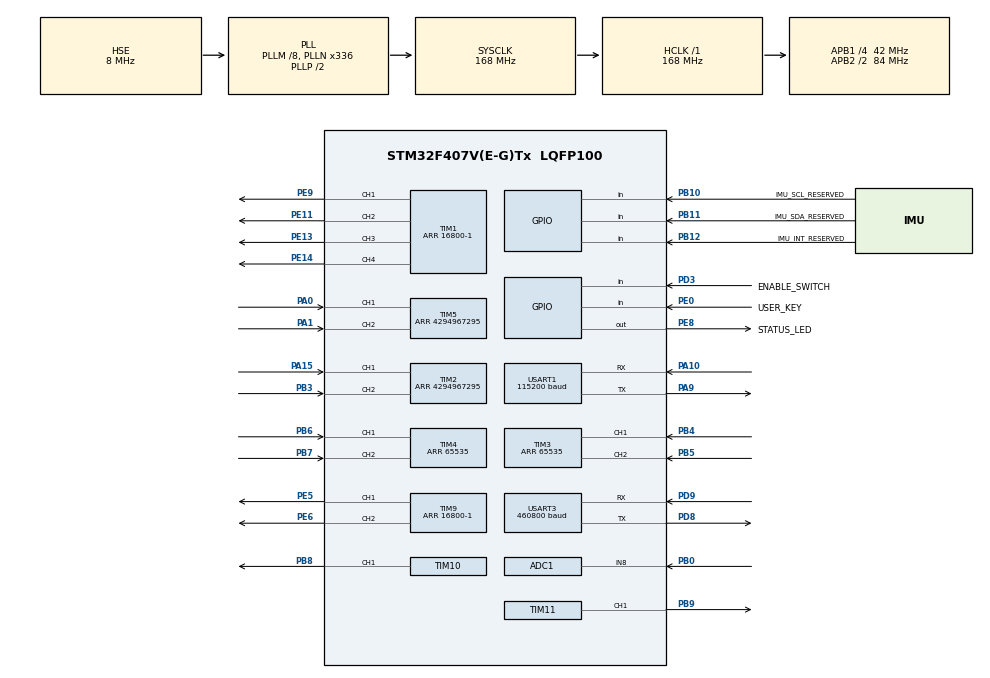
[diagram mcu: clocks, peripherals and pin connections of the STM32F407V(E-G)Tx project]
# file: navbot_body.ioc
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ADC1.Channel-0\#ChannelRegularConversion=ADC_CHANNEL_8
ADC1.ClockPrescaler=ADC_CLOCK_SYNC_PCLK_DIV4
ADC1.EnableAnalogWatchDog=false
ADC1.NbrOfConversionFlag=1
ADC1.Rank-0\#ChannelRegularConversion=1
ADC1.SamplingTime-0\#ChannelRegularConversion=ADC_SAMPLETIME_480CYCLES
ADC1.master=1
Dma.Request0=USART3_RX
Dma.Request1=USART3_TX
Dma.USART3_RX.0.Direction=DMA_PERIPH_TO_MEMORY
Dma.USART3_RX.0.FIFOMode=DMA_FIFOMODE_DISABLE
Dma.USART3_RX.0.Instance=DMA1_Stream1
Dma.USART3_RX.0.MemDataAlignment=DMA_MDATAALIGN_BYTE
Dma.USART3_RX.0.MemInc=DMA_MINC_ENABLE
Dma.USART3_RX.0.Mode=DMA_CIRCULAR
Dma.USART3_RX.0.PeriphDataAlignment=DMA_PDATAALIGN_BYTE
Dma.USART3_RX.0.PeriphInc=DMA_PINC_DISABLE
Dma.USART3_RX.0.Priority=DMA_PRIORITY_LOW
Dma.USART3_TX.1.Direction=DMA_MEMORY_TO_PERIPH
Dma.USART3_TX.1.FIFOMode=DMA_FIFOMODE_DISABLE
Dma.USART3_TX.1.Instance=DMA1_Stream3
Dma.USART3_TX.1.MemDataAlignment=DMA_MDATAALIGN_BYTE
Dma.USART3_TX.1.MemInc=DMA_MINC_ENABLE
Dma.USART3_TX.1.Mode=DMA_NORMAL
Dma.USART3_TX.1.PeriphDataAlignment=DMA_PDATAALIGN_BYTE
Dma.USART3_TX.1.PeriphInc=DMA_PINC_DISABLE
Dma.USART3_TX.1.Priority=DMA_PRIORITY_LOW
FREERTOS.INCLUDE_uxTaskGetStackHighWaterMark=1
FREERTOS.INCLUDE_vTaskDelayUntil=1
FREERTOS.Tasks01=controlTask,40,512,StartControlTask,Default,NULL,Static,controlStack,controlTcb;commTask,24,512,StartCommTask,Default,NULL,Static,commStack,commTcb;sensorTask,16,384,StartSensorTask,Default,NULL,Static,sensorStack,sensorTcb;monitorTask,8,512,StartMonitorTask,Default,NULL,Static,monitorStack,monitorTcb
FREERTOS.configCHECK_FOR_STACK_OVERFLOW=2
FREERTOS.configTOTAL_HEAP_SIZE=8192
FREERTOS.configUSE_MALLOC_FAILED_HOOK=1
FREERTOS.configUSE_TIMERS=1
Mcu.Family=STM32F4
Mcu.Name=STM32F407V(E-G)Tx
Mcu.Package=LQFP100
NVIC.DMA1_Stream1_IRQn=true\:5\:0\:false\:false\:true\:true\:true\:true\:true
NVIC.DMA1_Stream3_IRQn=true\:5\:0\:false\:false\:true\:true\:true\:true\:true
NVIC.PriorityGroup=NVIC_PRIORITYGROUP_4
NVIC.TIM6_DAC_IRQn=true\:15\:0\:false\:false\:true\:false\:false\:true\:true
NVIC.TimeBase=TIM6_DAC_IRQn
NVIC.TimeBaseIP=TIM6
NVIC.USART3_IRQn=true\:5\:0\:false\:false\:true\:true\:true\:true\:true
PA0-WKUP.GPIO_ModeDefaultPP=GPIO_MODE_AF_PP
PA0-WKUP.GPIO_PuPd=GPIO_PULLUP
PA0-WKUP.GPIO_Speed=GPIO_SPEED_FREQ_VERY_HIGH
PA0-WKUP.Signal=S_TIM5_CH1
PA1.GPIO_ModeDefaultPP=GPIO_MODE_AF_PP
PA1.GPIO_PuPd=GPIO_PULLUP
PA1.GPIO_Speed=GPIO_SPEED_FREQ_VERY_HIGH
PA1.Signal=S_TIM5_CH2
PA10.GPIO_PuPd=GPIO_PULLUP
PA10.GPIO_Speed=GPIO_SPEED_FREQ_MEDIUM
PA10.Mode=Asynchronous
PA10.Signal=USART1_RX
PA13.Mode=Serial_Wire
PA13.Signal=SYS_JTMS-SWDIO
PA14.Mode=Serial_Wire
PA14.Signal=SYS_JTCK-SWCLK
PA15.GPIO_ModeDefaultPP=GPIO_MODE_AF_PP
PA15.GPIO_PuPd=GPIO_PULLUP
PA15.GPIO_Speed=GPIO_SPEED_FREQ_VERY_HIGH
PA15.Signal=S_TIM2_CH1_ETR
PA9.GPIO_ModeDefaultPP=GPIO_MODE_AF_PP
PA9.GPIO_PuPd=GPIO_PULLUP
PA9.GPIO_Speed=GPIO_SPEED_FREQ_MEDIUM
PA9.Mode=Asynchronous
PA9.Signal=USART1_TX
PB0.GPIO_Mode=GPIO_MODE_ANALOG
PB0.GPIO_PuPd=GPIO_NOPULL
PB0.Signal=ADCx_IN8
PB10.GPIO_Label=IMU_SCL_RESERVED
PB10.Signal=GPIO_Input
PB11.GPIO_Label=IMU_SDA_RESERVED
PB11.Signal=GPIO_Input
PB12.GPIO_Label=IMU_INT_RESERVED
PB12.Signal=GPIO_Input
PB3.GPIO_ModeDefaultPP=GPIO_MODE_AF_PP
PB3.GPIO_PuPd=GPIO_PULLUP
PB3.GPIO_Speed=GPIO_SPEED_FREQ_VERY_HIGH
PB3.Signal=S_TIM2_CH2
PB4.GPIO_ModeDefaultPP=GPIO_MODE_AF_PP
PB4.GPIO_PuPd=GPIO_PULLUP
PB4.GPIO_Speed=GPIO_SPEED_FREQ_VERY_HIGH
PB4.Signal=S_TIM3_CH1
PB5.GPIO_ModeDefaultPP=GPIO_MODE_AF_PP
PB5.GPIO_PuPd=GPIO_PULLUP
PB5.GPIO_Speed=GPIO_SPEED_FREQ_VERY_HIGH
PB5.Signal=S_TIM3_CH2
PB6.GPIO_ModeDefaultPP=GPIO_MODE_AF_PP
PB6.GPIO_PuPd=GPIO_PULLUP
PB6.GPIO_Speed=GPIO_SPEED_FREQ_VERY_HIGH
PB6.Signal=S_TIM4_CH1
PB7.GPIO_ModeDefaultPP=GPIO_MODE_AF_PP
PB7.GPIO_PuPd=GPIO_PULLUP
PB7.GPIO_Speed=GPIO_SPEED_FREQ_VERY_HIGH
PB7.Signal=S_TIM4_CH2
PB8.GPIO_PuPd=GPIO_PULLDOWN
PB8.Signal=S_TIM10_CH1
PB9.GPIO_PuPd=GPIO_PULLDOWN
PB9.Signal=S_TIM11_CH1
PD3.GPIO_Label=ENABLE_SWITCH
PD3.GPIO_PuPd=GPIO_NOPULL
PD3.Signal=GPIO_Input
PD8.Mode=Asynchronous
PD8.Signal=USART3_TX
PD9.Mode=Asynchronous
PD9.Signal=USART3_RX
PE0.GPIO_Label=USER_KEY
PE0.GPIO_PuPd=GPIO_NOPULL
PE0.Signal=GPIO_Input
PE11.GPIO_PuPd=GPIO_PULLDOWN
PE11.Signal=S_TIM1_CH2
PE13.GPIO_PuPd=GPIO_PULLDOWN
PE13.Signal=S_TIM1_CH3
PE14.GPIO_PuPd=GPIO_PULLDOWN
PE14.Signal=S_TIM1_CH4
PE5.GPIO_PuPd=GPIO_PULLDOWN
PE5.Signal=S_TIM9_CH1
PE6.GPIO_PuPd=GPIO_PULLDOWN
PE6.Signal=S_TIM9_CH2
PE8.GPIO_Label=STATUS_LED
PE8.GPIO_PuPd=GPIO_NOPULL
PE8.Signal=GPIO_Output
PE9.GPIO_PuPd=GPIO_PULLDOWN
PE9.Signal=S_TIM1_CH1
PH0-OSC_IN.Mode=HSE-External-Oscillator
PH0-OSC_IN.Signal=RCC_OSC_IN
PH1-OSC_OUT.Mode=HSE-External-Oscillator
PH1-OSC_OUT.Signal=RCC_OSC_OUT
ProjectManager.HeapSize=0x200
ProjectManager.StackSize=0x1000
ProjectManager.TargetToolchain=CMake
RCC.48MHZClocksFreq_Value=48000000
RCC.AHBFreq_Value=168000000
RCC.APB1CLKDivider=RCC_HCLK_DIV4
RCC.APB1Freq_Value=42000000
RCC.APB1TimFreq_Value=84000000
RCC.APB2CLKDivider=RCC_HCLK_DIV2
RCC.APB2Freq_Value=84000000
RCC.APB2TimFreq_Value=168000000
RCC.CortexFreq_Value=168000000
RCC.HCLKFreq_Value=168000000
RCC.HSE_VALUE=8000000
RCC.HSI_VALUE=16000000
RCC.LSE_VALUE=32768
RCC.PLLM=8
RCC.PLLN=336
RCC.PLLQ=7
RCC.PLLSourceVirtual=RCC_PLLSOURCE_HSE
RCC.RCC_RTC_Clock_Source_FROM_HSE=RCC_RTCCLKSOURCE_HSE_DIV8
RCC.SYSCLKFreq_VALUE=168000000
RCC.SYSCLKSource=RCC_SYSCLKSOURCE_PLLCLK
RCC.VCOOutputFreq_Value=336000000
SH.ADCx_IN8.0=ADC1_IN8,IN8
SH.S_TIM10_CH1.0=TIM10_CH1,PWM Generation1 CH1
SH.S_TIM11_CH1.0=TIM11_CH1,PWM Generation1 CH1
SH.S_TIM1_CH1.0=TIM1_CH1,PWM Generation1 CH1
SH.S_TIM1_CH2.0=TIM1_CH2,PWM Generation2 CH2
SH.S_TIM1_CH3.0=TIM1_CH3,PWM Generation3 CH3
SH.S_TIM1_CH4.0=TIM1_CH4,PWM Generation4 CH4
SH.S_TIM2_CH1_ETR.0=TIM2_CH1,Encoder_Interface
SH.S_TIM2_CH2.0=TIM2_CH2,Encoder_Interface
SH.S_TIM3_CH1.0=TIM3_CH1,Encoder_Interface
SH.S_TIM3_CH2.0=TIM3_CH2,Encoder_Interface
SH.S_TIM4_CH1.0=TIM4_CH1,Encoder_Interface
SH.S_TIM4_CH2.0=TIM4_CH2,Encoder_Interface
SH.S_TIM5_CH1.0=TIM5_CH1,Encoder_Interface
SH.S_TIM5_CH2.0=TIM5_CH2,Encoder_Interface
SH.S_TIM9_CH1.0=TIM9_CH1,PWM Generation1 CH1
SH.S_TIM9_CH2.0=TIM9_CH2,PWM Generation2 CH2
TIM1.AutoReloadPreload=TIM_AUTORELOAD_PRELOAD_ENABLE
TIM1.Channel-PWM\ Generation1\ CH1=TIM_CHANNEL_1
TIM1.Channel-PWM\ Generation2\ CH2=TIM_CHANNEL_2
TIM1.Channel-PWM\ Generation3\ CH3=TIM_CHANNEL_3
TIM1.Channel-PWM\ Generation4\ CH4=TIM_CHANNEL_4
TIM1.Period=16800-1
TIM10.AutoReloadPreload=TIM_AUTORELOAD_PRELOAD_ENABLE
TIM10.Channel=TIM_CHANNEL_1
TIM10.Period=16800-1
TIM11.AutoReloadPreload=TIM_AUTORELOAD_PRELOAD_ENABLE
TIM11.Channel=TIM_CHANNEL_1
TIM11.Period=16800-1
TIM11.Prescaler=0
TIM2.EncoderMode=TIM_ENCODERMODE_TI12
TIM2.IC1Filter=15
TIM2.IC1Polarity=TIM_ICPOLARITY_RISING
TIM2.IC2Filter=15
TIM2.Period=4294967295
TIM3.EncoderMode=TIM_ENCODERMODE_TI12
TIM3.IC1Filter=15
TIM3.IC2Filter=15
TIM3.Period=65535
TIM4.EncoderMode=TIM_ENCODERMODE_TI12
TIM4.IC1Filter=15
TIM4.IC2Filter=15
TIM4.Period=65535
TIM5.EncoderMode=TIM_ENCODERMODE_TI12
TIM5.IC1Filter=15
TIM5.IC2Filter=15
TIM5.Period=4294967295
TIM9.AutoReloadPreload=TIM_AUTORELOAD_PRELOAD_ENABLE
TIM9.Channel-PWM\ Generation1\ CH1=TIM_CHANNEL_1
TIM9.Channel-PWM\ Generation2\ CH2=TIM_CHANNEL_2
TIM9.Period=16800-1
USART1.BaudRate=115200
USART1.VirtualMode=VM_ASYNC
USART3.BaudRate=460800
USART3.VirtualMode=VM_ASYNC
VP_FREERTOS_VS_CMSIS_V2.Mode=CMSIS_V2
VP_SYS_VS_tim6.Mode=TIM6
VP_TIM10_VS_ClockSourceINT.Mode=Enable_Timer
VP_TIM11_VS_ClockSourceINT.Mode=Enable_Timer
VP_TIM1_VS_ClockSourceINT.Mode=Internal
VP_TIM9_VS_ClockSourceINT.Mode=Internal
board=custom

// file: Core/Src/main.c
/* USER CODE BEGIN Header */
/**
  ******************************************************************************
  * @file           : main.c
  * @brief          : Main program body
  ******************************************************************************
  * @attention
  *
  * Copyright (c) 2026 STMicroelectronics.
  * All rights reserved.
  *
  * This software is licensed under terms that can be found in the LICENSE file
  * in the root directory of this software component.
  * If no LICENSE file comes with this software, it is provided AS-IS.
  *
  ******************************************************************************
  */
/* USER CODE END Header */
#include "main.h"
#include "cmsis_os.h"
#include "adc.h"
#include "dma.h"
#include "tim.h"
#include "usart.h"
#include "gpio.h"

/* USER CODE BEGIN Includes */
#include "c30d_safety.h"
/* USER CODE END Includes */

void SystemClock_Config(void);
void MX_FREERTOS_Init(void);

int main(void)
{

  /* MCU Configuration--------------------------------------------------------*/

  /* Reset of all peripherals, Initializes the Flash interface and the Systick. */
  HAL_Init();

  /* Configure the system clock */
  SystemClock_Config();

  /* Initialize all configured peripherals */
  MX_GPIO_Init();
  MX_DMA_Init();
  MX_ADC1_Init();
  MX_TIM1_Init();
  MX_TIM2_Init();
  MX_TIM3_Init();
  MX_TIM4_Init();
  MX_TIM5_Init();
  MX_TIM9_Init();
  MX_TIM10_Init();
  MX_TIM11_Init();
  MX_USART1_UART_Init();
  MX_USART3_UART_Init();
  /* USER CODE BEGIN 2 */
/* No PWM/encoder/DMA acquisition is started in the template. */
  C30D_ForceMotorIdle();
  /* USER CODE END 2 */

  /* Init scheduler */
  osKernelInitialize();  /* Call init function for freertos objects (in cmsis_os2.c) */
  MX_FREERTOS_Init();

  /* Start scheduler */
  osKernelStart();

  /* We should never get here as control is now taken by the scheduler */

  /* Infinite loop */
  /* USER CODE BEGIN WHILE */
  /* Scheduler start must never return to main. */
  C30D_TemplatePanic();
  while (1)
  {
    /* USER CODE END WHILE */

  }
}

void SystemClock_Config(void)
{
  RCC_OscInitTypeDef RCC_OscInitStruct = {0};
  RCC_ClkInitTypeDef RCC_ClkInitStruct = {0};

  /** Configure the main internal regulator output voltage
  */
  __HAL_RCC_PWR_CLK_ENABLE();
  __HAL_PWR_VOLTAGESCALING_CONFIG(PWR_REGULATOR_VOLTAGE_SCALE1);

  /** Initializes the RCC Oscillators according to the specified parameters
  * in the RCC_OscInitTypeDef structure.
  */
  RCC_OscInitStruct.OscillatorType = RCC_OSCILLATORTYPE_HSE;
  RCC_OscInitStruct.HSEState = RCC_HSE_ON;
  RCC_OscInitStruct.PLL.PLLState = RCC_PLL_ON;
  RCC_OscInitStruct.PLL.PLLSource = RCC_PLLSOURCE_HSE;
  RCC_OscInitStruct.PLL.PLLM = 8;
  RCC_OscInitStruct.PLL.PLLN = 336;
  RCC_OscInitStruct.PLL.PLLP = RCC_PLLP_DIV2;
  RCC_OscInitStruct.PLL.PLLQ = 7;
  if (HAL_RCC_OscConfig(&RCC_OscInitStruct) != HAL_OK)
  {
    Error_Handler();
  }

  /** Initializes the CPU, AHB and APB buses clocks
  */
  RCC_ClkInitStruct.ClockType = RCC_CLOCKTYPE_HCLK|RCC_CLOCKTYPE_SYSCLK
                              |RCC_CLOCKTYPE_PCLK1|RCC_CLOCKTYPE_PCLK2;
  RCC_ClkInitStruct.SYSCLKSource = RCC_SYSCLKSOURCE_PLLCLK;
  RCC_ClkInitStruct.AHBCLKDivider = RCC_SYSCLK_DIV1;
  RCC_ClkInitStruct.APB1CLKDivider = RCC_HCLK_DIV4;
  RCC_ClkInitStruct.APB2CLKDivider = RCC_HCLK_DIV2;

  if (HAL_RCC_ClockConfig(&RCC_ClkInitStruct, FLASH_LATENCY_5) != HAL_OK)
  {
    Error_Handler();
  }
}

void HAL_TIM_PeriodElapsedCallback(TIM_HandleTypeDef *htim)
{
  if (htim->Instance == TIM6)
  {
    HAL_IncTick();
  }
}

void Error_Handler(void)
{
  /* USER CODE BEGIN Error_Handler_Debug */
C30D_TemplatePanic();
  /* USER CODE END Error_Handler_Debug */
}

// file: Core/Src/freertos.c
/* USER CODE BEGIN Header */
/**
  ******************************************************************************
  * File Name          : freertos.c
  * Description        : Code for freertos applications
  ******************************************************************************
  * @attention
  *
  * Copyright (c) 2026 STMicroelectronics.
  * All rights reserved.
  *
  * This software is licensed under terms that can be found in the LICENSE file
  * in the root directory of this software component.
  * If no LICENSE file comes with this software, it is provided AS-IS.
  *
  ******************************************************************************
  */
/* USER CODE END Header */

#include "FreeRTOS.h"
#include "task.h"
#include "main.h"
#include "cmsis_os.h"

/* USER CODE BEGIN Includes */
#include "app_tasks.h"
#include "c30d_safety.h"
/* USER CODE END Includes */

typedef StaticTask_t osStaticThreadDef_t;

/* Definitions for controlTask */
osThreadId_t controlTaskHandle;
uint32_t controlStack[ 512 ];
osStaticThreadDef_t controlTcb;
const osThreadAttr_t controlTask_attributes = {
  .name = "controlTask",
  .cb_mem = &controlTcb,
  .cb_size = sizeof(controlTcb),
  .stack_mem = &controlStack[0],
  .stack_size = sizeof(controlStack),
  .priority = (osPriority_t) osPriorityHigh,
};
/* Definitions for commTask */
osThreadId_t commTaskHandle;
uint32_t commStack[ 512 ];
osStaticThreadDef_t commTcb;
const osThreadAttr_t commTask_attributes = {
  .name = "commTask",
  .cb_mem = &commTcb,
  .cb_size = sizeof(commTcb),
  .stack_mem = &commStack[0],
  .stack_size = sizeof(commStack),
  .priority = (osPriority_t) osPriorityNormal,
};
/* Definitions for sensorTask */
osThreadId_t sensorTaskHandle;
uint32_t sensorStack[ 384 ];
osStaticThreadDef_t sensorTcb;
const osThreadAttr_t sensorTask_attributes = {
  .name = "sensorTask",
  .cb_mem = &sensorTcb,
  .cb_size = sizeof(sensorTcb),
  .stack_mem = &sensorStack[0],
  .stack_size = sizeof(sensorStack),
  .priority = (osPriority_t) osPriorityBelowNormal,
};
/* Definitions for monitorTask */
osThreadId_t monitorTaskHandle;
uint32_t monitorStack[ 512 ];
osStaticThreadDef_t monitorTcb;
const osThreadAttr_t monitorTask_attributes = {
  .name = "monitorTask",
  .cb_mem = &monitorTcb,
  .cb_size = sizeof(monitorTcb),
  .stack_mem = &monitorStack[0],
  .stack_size = sizeof(monitorStack),
  .priority = (osPriority_t) osPriorityLow,
};

void StartControlTask(void *argument);
void StartCommTask(void *argument);
void StartSensorTask(void *argument);
void StartMonitorTask(void *argument);

void MX_FREERTOS_Init(void); /* (MISRA C 2004 rule 8.1) */

/* Hook prototypes */
void vApplicationStackOverflowHook(xTaskHandle xTask, signed char *pcTaskName);
void vApplicationMallocFailedHook(void);

/* USER CODE BEGIN 4 */
void vApplicationStackOverflowHook(xTaskHandle xTask, signed char *pcTaskName)
{
    (void)xTask;
    (void)pcTaskName;
    C30D_TemplatePanic();
}
/* USER CODE END 4 */

/* USER CODE BEGIN 5 */
void vApplicationMallocFailedHook(void)
{
    C30D_TemplatePanic();
}
/* USER CODE END 5 */

void MX_FREERTOS_Init(void) {
  /* USER CODE BEGIN Init */
  if (osKernelGetState() != osKernelReady) {
    C30D_TemplatePanic();
  }
  /* USER CODE END Init */

  /* Create the thread(s) */
  /* creation of controlTask */
  controlTaskHandle = osThreadNew(StartControlTask, NULL, &controlTask_attributes);

  /* creation of commTask */
  commTaskHandle = osThreadNew(StartCommTask, NULL, &commTask_attributes);

  /* creation of sensorTask */
  sensorTaskHandle = osThreadNew(StartSensorTask, NULL, &sensorTask_attributes);

  /* creation of monitorTask */
  monitorTaskHandle = osThreadNew(StartMonitorTask, NULL, &monitorTask_attributes);

  /* USER CODE BEGIN RTOS_THREADS */
  if ((controlTaskHandle == NULL) || (commTaskHandle == NULL) ||
      (sensorTaskHandle == NULL) || (monitorTaskHandle == NULL)) {
    C30D_TemplatePanic();
  }
  /* USER CODE END RTOS_THREADS */

}

void StartControlTask(void *argument)
{
  /* USER CODE BEGIN StartControlTask */
  Navbot_ControlTask(argument);
  /* USER CODE END StartControlTask */
}

void StartCommTask(void *argument)
{
  /* USER CODE BEGIN StartCommTask */
  Navbot_CommTask(argument);
  /* USER CODE END StartCommTask */
}

void StartSensorTask(void *argument)
{
  /* USER CODE BEGIN StartSensorTask */
  Navbot_SensorTask(argument);
  /* USER CODE END StartSensorTask */
}

void StartMonitorTask(void *argument)
{
  /* USER CODE BEGIN StartMonitorTask */
  Navbot_MonitorTask(argument);
  /* USER CODE END StartMonitorTask */
}
